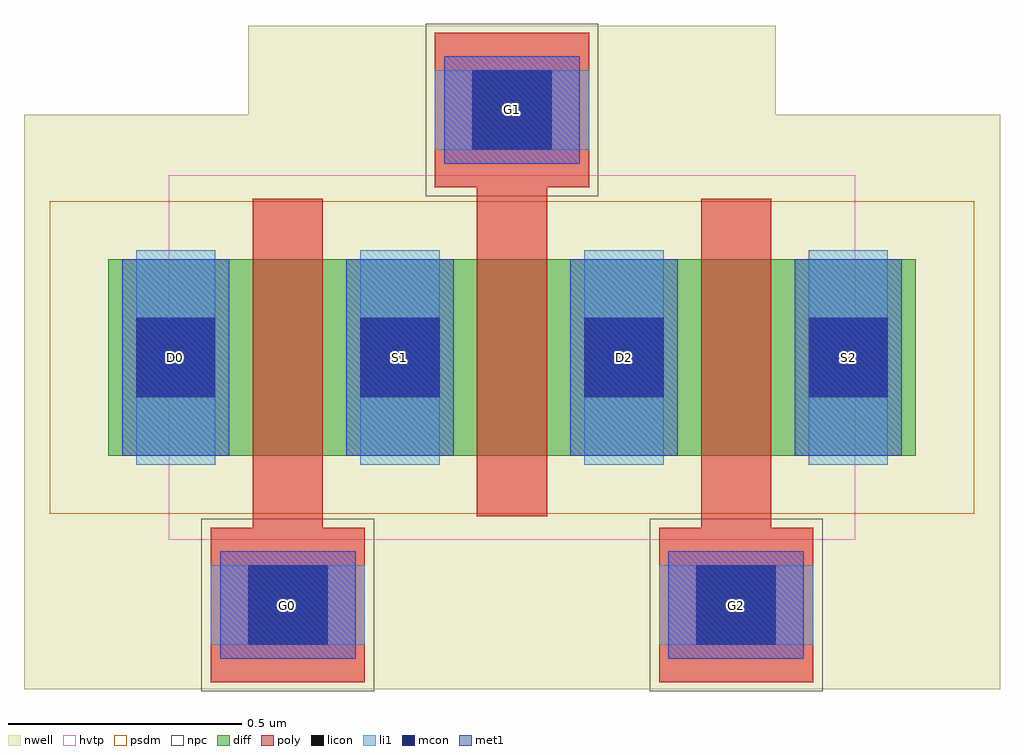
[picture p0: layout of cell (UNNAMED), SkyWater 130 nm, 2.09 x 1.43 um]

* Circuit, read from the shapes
.subckt (UNNAMED) D0 D2 G0 G1 G2 S1 S2
XM1 S1 G0 D0 n1 sky130_fd_pr__pfet_01v8_hvt w=0.42 l=0.15
XM2 D2 G1 S1 n1 sky130_fd_pr__pfet_01v8_hvt w=0.42 l=0.15
XM3 S2 G2 D2 n1 sky130_fd_pr__pfet_01v8_hvt w=0.42 l=0.15
.ends

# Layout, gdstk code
import gdstk
lib = gdstk.Library(unit=1e-6, precision=1e-09)
def R(c, l, rs):  # rectangles x0, y0, x1, y1
    for r in rs: c.add(gdstk.rectangle(r[:2], r[2:], *l))
def A(c, l, x, y, w, h, nx, ny, dx, dy):  # array of equal rectangles
    R(c, l, [(x+i*dx, y+j*dy, x+i*dx+w, y+j*dy+h) for i in range(nx) for j in range(ny)])
nwell = (64, 20)
diff = (65, 20)
poly = (66, 20)
licon = (66, 44)
li1 = (67, 20)
mcon = (67, 44)
met1 = (68, 20)
hvtp = (78, 44)
psdm = (94, 20)
npc = (95, 20)

c__unnamed_ = lib.new_cell('(UNNAMED)')
R(c__unnamed_, nwell, [(-1.045,-0.71,1.045,0.52), (-0.565,0.52,0.565,0.71)])
R(c__unnamed_, diff, [(-0.865,-0.21,0.865,0.21)])
R(c__unnamed_, poly, [(-0.645,-0.695,-0.315,-0.365), (0.315,-0.695,0.645,-0.365), (-0.555,-0.365,-0.405,0.34), (0.405,-0.365,0.555,0.34), (-0.075,-0.34,0.075,0.365), (-0.165,0.365,0.165,0.695)])
A(c__unnamed_, licon, -0.805, -0.085, 0.17, 0.17, 4, 1, 0.48, 0)
R(c__unnamed_, licon, [(-0.565,-0.615,-0.395,-0.445), (0.395,-0.615,0.565,-0.445), (-0.085,0.445,0.085,0.615)])
A(c__unnamed_, li1, -0.805, -0.23, 0.17, 0.46, 4, 1, 0.48, 0)
R(c__unnamed_, li1, [(-0.645,-0.615,-0.315,-0.445), (0.315,-0.615,0.645,-0.445), (-0.165,0.445,0.165,0.615)])
A(c__unnamed_, mcon, -0.805, -0.085, 0.17, 0.17, 4, 1, 0.48, 0)
R(c__unnamed_, mcon, [(-0.565,-0.615,-0.395,-0.445), (0.395,-0.615,0.565,-0.445), (-0.085,0.445,0.085,0.615)])
A(c__unnamed_, met1, -0.835, -0.21, 0.23, 0.42, 4, 1, 0.48, 0)
R(c__unnamed_, met1, [(-0.625,-0.645,-0.335,-0.415), (0.335,-0.645,0.625,-0.415), (-0.145,0.415,0.145,0.645)])
R(c__unnamed_, hvtp, [(-0.735,-0.39,0.735,0.39)])
R(c__unnamed_, psdm, [(-0.99,-0.335,0.99,0.335)])
R(c__unnamed_, npc, [(-0.665,-0.715,-0.295,-0.345), (0.295,-0.715,0.665,-0.345), (-0.185,0.345,0.185,0.715)])
c__unnamed_.add(gdstk.Label('D0', (-0.72,0), layer=67, texttype=5))
c__unnamed_.add(gdstk.Label('G0', (-0.48,-0.53), layer=67, texttype=5))
c__unnamed_.add(gdstk.Label('S1', (-0.24,0), layer=67, texttype=5))
c__unnamed_.add(gdstk.Label('G1', (0,0.53), layer=67, texttype=5))
c__unnamed_.add(gdstk.Label('D2', (0.24,0), layer=67, texttype=5))
c__unnamed_.add(gdstk.Label('S2', (0.72,0), layer=67, texttype=5))
c__unnamed_.add(gdstk.Label('G2', (0.48,-0.53), layer=67, texttype=5))

lib.write_gds('_UNNAMED_.gds')
